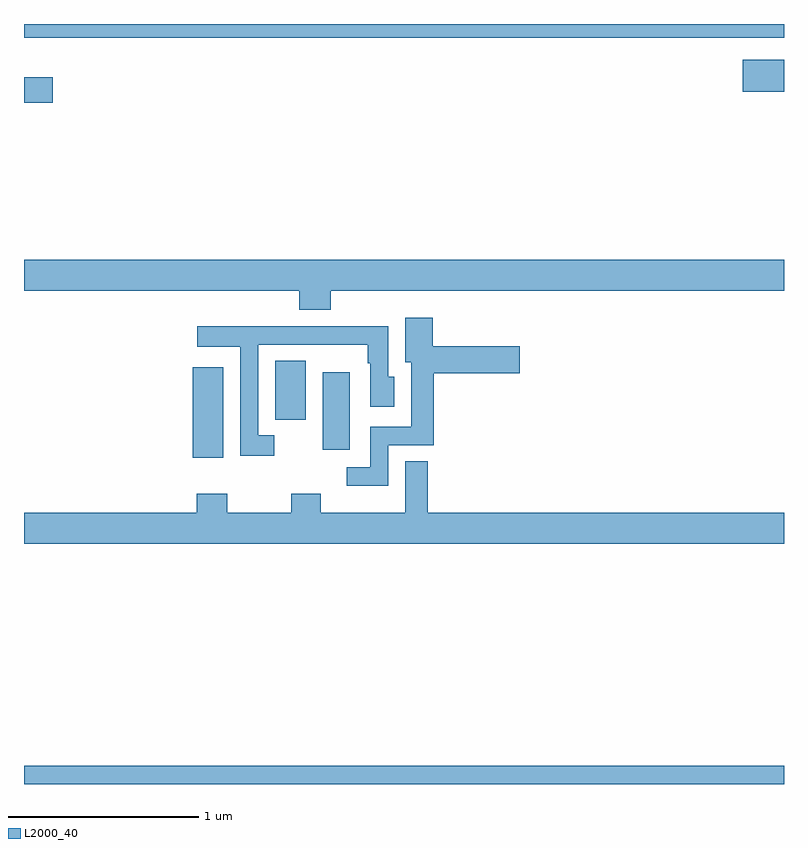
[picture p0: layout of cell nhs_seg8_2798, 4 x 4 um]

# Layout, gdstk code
import gdstk
lib = gdstk.Library(unit=1e-6, precision=1e-09)
def R(c, l, rs):  # rectangles x0, y0, x1, y1
    for r in rs: c.add(gdstk.rectangle(r[:2], r[2:], *l))
def P(c, l, *ps):  # polygons
    for p in ps: c.add(gdstk.Polygon(p, *l))
L2000_40 = (2000, 40)

nhs_seg8_2798 = lib.new_cell('nhs_seg8_2798')
R(nhs_seg8_2798, L2000_40, [(287,1117.9,291,1117.996), (287.888,1119.618,288.049,1120.093), (288.572,1119.66,288.715,1120.066), (288.323,1119.816,288.484,1120.127), (287,1121.486,287.152,1121.62), (290.784,1121.543,291,1121.713), (287,1121.828,291,1121.9)])
P(nhs_seg8_2798, L2000_40, [(288.614,1120.496),(291,1120.496),(291,1120.66),(287,1120.66),(287,1120.496),(288.449,1120.496),(288.449,1120.397),(288.614,1120.397)],
  [(288.918,1119.684),(289.156,1119.684),(289.156,1120.061),(289.609,1120.061),(289.609,1120.203),(289.151,1120.203),(289.151,1120.354),(289.007,1120.354),(289.007,1120.121),(289.037,1120.121),(289.037,1119.78),(288.822,1119.78),(288.822,1119.567),(288.699,1119.567),(288.699,1119.47),(288.918,1119.47)],
  [(288.316,1119.735),(288.234,1119.735),(288.234,1120.212),(288.58,1120.212),(288.58,1120.211),(288.81,1120.211),(288.81,1120.115),(288.822,1120.115),(288.822,1119.885),(288.949,1119.885),(288.949,1120.044),(288.918,1120.044),(288.918,1120.31),(288.697,1120.31),(288.697,1120.308),(288.331,1120.308),(288.331,1120.31),(287.913,1120.31),(287.913,1120.202),(288.138,1120.202),(288.138,1119.627),(288.316,1119.627)],
  [(291,1119.328),(289.126,1119.328),(289.126,1119.599),(289.007,1119.599),(289.007,1119.328),(288.561,1119.328),(288.561,1119.427),(288.406,1119.427),(288.406,1119.328),(288.069,1119.328),(288.069,1119.427),(287.909,1119.427),(287.909,1119.328),(287,1119.328),(287,1119.164),(291,1119.164)])

lib.write_gds('nhs_seg8_2798.gds')
